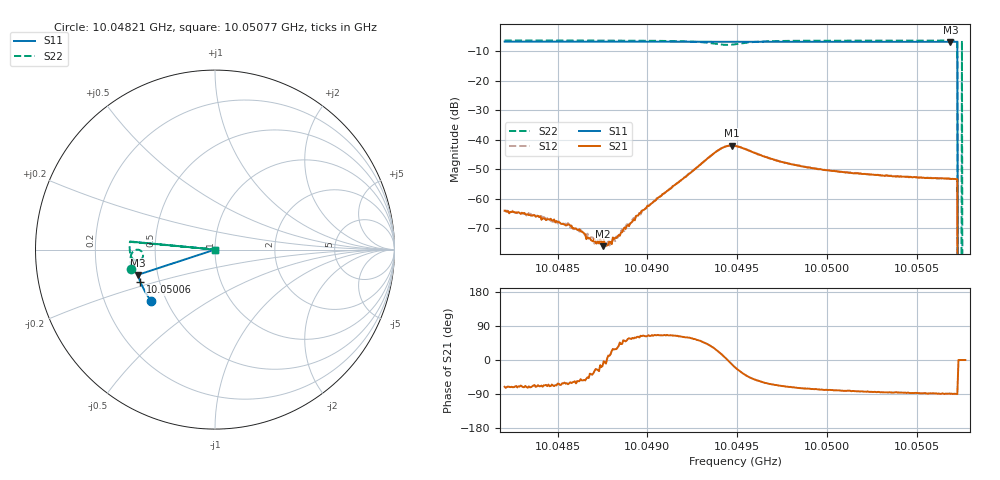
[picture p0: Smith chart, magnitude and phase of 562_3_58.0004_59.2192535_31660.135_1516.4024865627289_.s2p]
#  HZ  S  RI  R  50.00
! Rohde & Schwarz Vector Network Analyzer
! Rohde-Schwarz,ZNB20-2Port,1311601062101988,3.16
! Created: UTC 3/21/2024, 1:15:28 AM
! freq[Hz]  re:S11  im:S11  re:S21  im:S21  re:S12  im:S12  re:S22  im:S22
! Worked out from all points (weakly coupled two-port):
!   401 points, 10.04821 GHz to 10.05077 GHz, reference 50 ohm
!   highest |S21| = -42.03 dB at 10.04947 GHz (marker M1); lowest = -76.1 dB at 10.04875 GHz (marker M2)
!   lowest |S11| = -6.9 dB at 10.05069 GHz (marker M3), VSWR 2.65, Z = 19.3 - j6.93 ohm
!   |S11| at or under -10 dB: 10.05073 GHz to end of sweep
!   |S22| runs from - to -6.4 dB; largest |S21 - S12| = 0.00057
!   S11 on the Smith chart (normalised r, x): 10.04821 GHz: 0.41, -0.30; 10.05006 GHz: 0.39, -0.18; 10.05077 GHz: 1.00, +0.00
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1.0048206e10  -0.3554 -0.287  0.000207 -0.00059  0.000264 -0.000574  -0.4657 -0.1054
1.0048436e10  -0.3642 -0.2745  0.000177 -0.000394  0.000183 -0.000407  -0.4685 -0.0889
1.0048565e10  -0.3691 -0.2676  0.000173 -0.000322  0.000194 -0.000292  -0.4697 -0.0793
1.0048635e10  -0.3716 -0.2638  0.000164 -0.000224  0.000187 -0.000199  -0.4702 -0.074
1.0048706e10  -0.3742 -0.2599  0.000182 -0.000101  0.000144 -9.46e-05  -0.4708 -0.0684
1.0048751e10  -0.3759 -0.2574  0.000151 -4.21e-05  0.000189 -4.11e-05  -0.4707 -0.0648
1.0048789e10  -0.3772 -0.255  0.000187 3.72e-05  0.00016 1.51e-05  -0.471 -0.0616
1.0049065e10  -0.3866 -0.2397  0.000441 0.000964  0.000345 0.000972  -0.4689 -0.0352
1.0049385e10  -0.3964 -0.221  0.00569 0.00278  0.00548 0.00313  -0.417 -0.00417
1.0049469e10  -0.3985 -0.2166  0.00778 -0.00148  0.00786 -0.000962  -0.4027 -0.0426
1.0049488e10  -0.3991 -0.2156  0.00736 -0.00259  0.00757 -0.00205  -0.4079 -0.0514
1.0049725e10  -0.4065 -0.2019  0.00172 -0.00404  0.00196 -0.00393  -0.465 -0.0423
1.0049918e10  -0.4118 -0.1903  0.000768 -0.00319  0.000941 -0.00314  -0.4728 -0.0205
1.0050059e10  -0.4154 -0.1816  0.000491 -0.00284  0.000623 -0.00282  -0.4747 -0.00742
1.0050347e10  -0.4221 -0.1642  0.00021 -0.00242  0.000377 -0.0024  -0.4754 0.0159
1.0050687e10  -0.4291 -0.1429  3.02e-05 -0.00215  0.000142 -0.00217  -0.474 0.0407
1.0050713e10  -0.4297 -0.1415  3.55e-05 -0.00216  0.000128 -0.00215  -0.474 0.0425
1.0050732e10  0 0  0 0  0 0  0 0
1.0050738e10  0 0  0 0  0 0  0 0
1.0050745e10  0 0  0 0  0 0  0 0
1.0050764e10  0 0  0 0  0 0  0 0
1.005077e10  0 0  0 0  0 0  0 0
